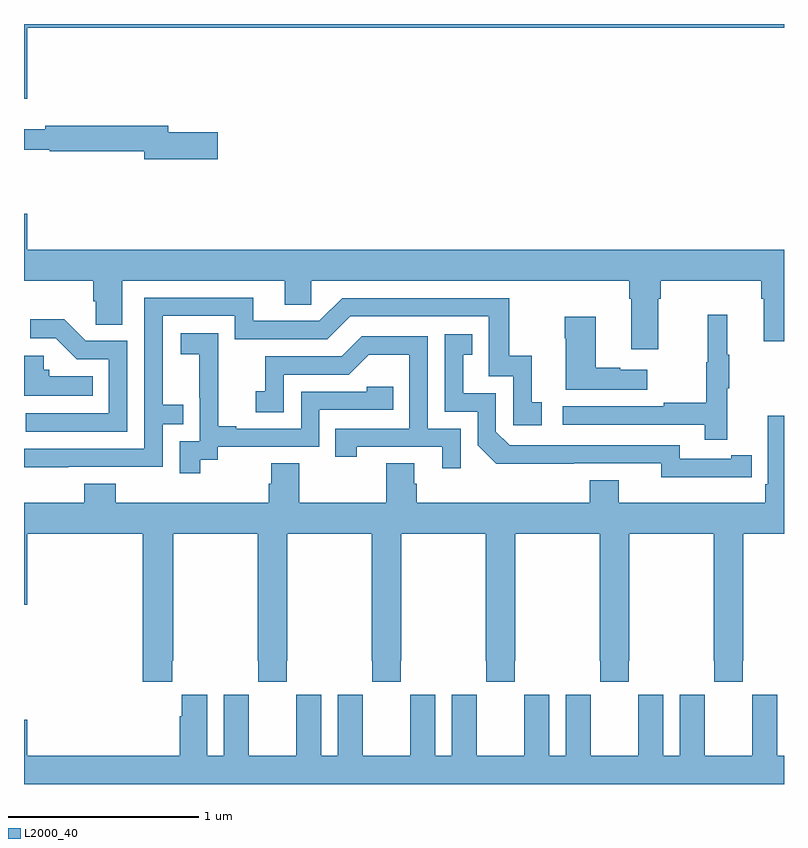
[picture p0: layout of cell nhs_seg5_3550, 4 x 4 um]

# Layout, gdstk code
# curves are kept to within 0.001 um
import gdstk
lib = gdstk.Library(unit=1e-6, precision=1e-09)
def P(c, l, *ps):  # polygons
    for p in ps: c.add(gdstk.Polygon(p, *l))
L2000_40 = (2000, 40)

nhs_seg5_3550 = lib.new_cell('nhs_seg5_3550')
P(nhs_seg5_3550, L2000_40, [(321.016,836.78),(325,836.78),(325,836.799),(321,836.799),(321,836.406),(321.016,836.406)],
  [(322.021,836.228),(321.76,836.228),(321.76,836.264),(321.112,836.264),(321.112,836.245),(321,836.245),(321,836.136),(321.136,836.136),(321.136,836.128),(321.632,836.128),(321.632,836.086),(322.021,836.086)],
  [(324.337,835.352),(324.35,835.352),(324.35,835.448),(324.881,835.448),(324.881,835.352),(324.893,835.352),(324.893,835.128),(325,835.128),(325,835.612),(321.016,835.612),(321.016,835.801),(321,835.801),(321,835.448),(321.365,835.448),(321.365,835.339),(321.378,835.339),(321.378,835.216),(321.517,835.216),(321.517,835.448),(322.373,835.448),(322.373,835.321),(322.512,835.321),(322.512,835.448),(324.185,835.448),(324.185,835.352),(324.197,835.352),(324.197,835.086),(324.337,835.086)],
  [(321.233,834.468),(321.729,834.468),(321.729,834.693),(321.839,834.693),(321.839,834.794),(321.729,834.794),(321.729,835.263),(322.11,835.263),(322.11,835.14),(322.596,835.14),(322.716,835.26),(323.445,835.26),(323.445,834.945),(323.574,834.945),(323.574,834.687),(323.725,834.687),(323.725,834.807),(323.672,834.807),(323.672,835.054),(323.554,835.054),(323.554,835.356),(322.674,835.356),(322.554,835.236),(322.207,835.236),(322.207,835.359),(321.633,835.359),(321.633,834.564),(321,834.564),(321,834.467)],
  [(324.701,834.883),(324.712,834.883),(324.712,835.057),(324.701,835.057),(324.701,835.27),(324.598,835.27),(324.598,835.02),(324.591,835.02),(324.591,834.806),(324.367,834.806),(324.367,834.786),(323.835,834.786),(323.835,834.69),(324.583,834.69),(324.583,834.612),(324.701,834.612)],
  [(324.28,834.979),(324.137,834.979),(324.137,834.989),(324.01,834.989),(324.01,835.258),(323.845,835.258),(323.845,835.145),(323.852,835.145),(323.852,834.875),(324.28,834.875)],
  [(321.543,835.131),(321.324,835.131),(321.211,835.244),(321.033,835.244),(321.033,835.146),(321.167,835.146),(321.278,835.035),(321.447,835.035),(321.447,834.75),(321.009,834.75),(321.009,834.654),(321.543,834.654)],
  [(321.928,834.505),(322.02,834.505),(322.02,834.573),(322.554,834.573),(322.554,834.768),(322.943,834.768),(322.943,834.891),(322.803,834.891),(322.803,834.864),(322.458,834.864),(322.458,834.669),(322.117,834.669),(322.117,834.682),(322.022,834.682),(322.022,834.965),(322.023,834.965),(322.023,835.171),(321.825,835.171),(321.825,835.061),(321.923,835.061),(321.923,834.833),(321.924,834.833),(321.924,834.603),(321.819,834.603),(321.819,834.435),(321.928,834.435)],
  [(324.722,834.414),(324.83,834.414),(324.83,834.53),(324.722,834.53),(324.722,834.51),(324.45,834.51),(324.45,834.582),(323.556,834.582),(323.484,834.654),(323.484,834.855),(323.311,834.855),(323.311,835.059),(323.36,835.059),(323.36,835.165),(323.214,835.165),(323.214,834.759),(323.388,834.759),(323.388,834.582),(323.486,834.485),(324.354,834.486),(324.354,834.413)],
  [(323.298,834.669),(323.124,834.669),(323.124,835.155),(322.778,835.155),(322.673,835.05),(322.27,835.05),(322.27,834.865),(322.221,834.865),(322.221,834.756),(322.368,834.756),(322.368,834.954),(322.71,834.954),(322.814,835.058),(323.028,835.058),(323.028,834.669),(322.639,834.669),(322.639,834.522),(322.75,834.522),(322.75,834.573),(323.201,834.573),(323.201,834.462),(323.298,834.462)],
  [(321.362,834.946),(321.132,834.946),(321.132,834.978),(321.105,834.978),(321.105,835.054),(321,835.054),(321,834.842),(321.362,834.842)],
  [(324.13,834.397),(323.978,834.397),(323.978,834.28),(323.066,834.28),(323.066,834.378),(323.053,834.378),(323.053,834.488),(322.906,834.488),(322.906,834.28),(322.449,834.28),(322.449,834.488),(322.301,834.488),(322.301,834.378),(322.289,834.378),(322.289,834.28),(321.482,834.28),(321.482,834.379),(321.317,834.379),(321.317,834.28),(321,834.28),(321,833.742),(321.016,833.742),(321.016,834.116),(321.626,834.116),(321.626,833.337),(321.779,833.337),(321.779,833.449),(321.786,833.449),(321.786,834.116),(322.231,834.116),(322.231,833.449),(322.233,833.449),(322.233,833.337),(322.383,833.337),(322.383,833.449),(322.386,833.449),(322.386,834.116),(322.831,834.116),(322.831,833.449),(322.833,833.449),(322.833,833.337),(322.983,833.337),(322.983,833.449),(322.986,833.449),(322.986,834.116),(323.431,834.116),(323.431,833.449),(323.433,833.449),(323.433,833.337),(323.583,833.337),(323.583,833.449),(323.586,833.449),(323.586,834.116),(324.031,834.116),(324.031,833.449),(324.033,833.449),(324.033,833.337),(324.183,833.337),(324.183,833.449),(324.186,833.449),(324.186,834.116),(324.631,834.116),(324.631,833.449),(324.633,833.449),(324.633,833.337),(324.783,833.337),(324.783,833.449),(324.786,833.449),(324.786,834.116),(325,834.116),(325,834.736),(324.915,834.736),(324.915,834.376),(324.902,834.376),(324.902,834.28),(324.13,834.28)],
  [(323.982,833.156),(323.982,833.269),(323.852,833.269),(323.852,832.948),(323.764,832.948),(323.764,833.269),(323.634,833.269),(323.634,833.156),(323.633,833.156),(323.633,832.948),(323.383,832.948),(323.383,833.156),(323.382,833.156),(323.382,833.269),(323.252,833.269),(323.252,832.948),(323.164,832.948),(323.164,833.269),(323.034,833.269),(323.034,833.156),(323.033,833.156),(323.033,832.948),(322.783,832.948),(322.783,833.156),(322.782,833.156),(322.782,833.269),(322.652,833.269),(322.652,832.948),(322.564,832.948),(322.564,833.269),(322.434,833.269),(322.434,833.156),(322.433,833.156),(322.433,832.948),(322.183,832.948),(322.183,833.156),(322.182,833.156),(322.182,833.269),(322.052,833.269),(322.052,832.948),(321.964,832.948),(321.964,833.269),(321.83,833.269),(321.83,833.156),(321.821,833.156),(321.821,832.948),(321.016,832.948),(321.016,833.137),(321,833.137),(321,832.799),(325,832.799),(325,832.948),(324.964,832.948),(324.964,833.269),(324.834,833.269),(324.834,833.156),(324.833,833.156),(324.833,832.948),(324.583,832.948),(324.583,833.156),(324.582,833.156),(324.582,833.269),(324.452,833.269),(324.452,832.948),(324.364,832.948),(324.364,833.269),(324.234,833.269),(324.234,833.156),(324.233,833.156),(324.233,832.948),(323.983,832.948),(323.983,833.156)])

lib.write_gds('nhs_seg5_3550.gds')
